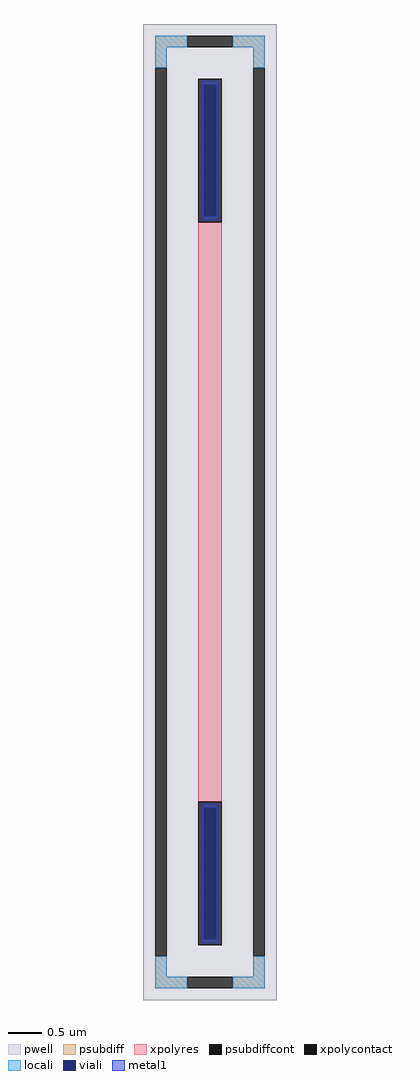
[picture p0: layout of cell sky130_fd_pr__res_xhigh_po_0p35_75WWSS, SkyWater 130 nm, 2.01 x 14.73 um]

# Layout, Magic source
magic
tech sky130A
magscale 1 2
<< pwell >>
rect -201 -1473 201 1473
<< psubdiff >>
rect -165 1403 -69 1437
rect 69 1403 165 1437
rect -165 1341 -131 1403
rect 131 1341 165 1403
rect -165 -1403 -131 -1341
rect 131 -1403 165 -1341
rect -165 -1437 -69 -1403
rect 69 -1437 165 -1403
<< psubdiffcont >>
rect -69 1403 69 1437
rect -165 -1341 -131 1341
rect 131 -1341 165 1341
rect -69 -1437 69 -1403
<< xpolycontact >>
rect -35 875 35 1307
rect -35 -1307 35 -875
<< xpolyres >>
rect -35 -875 35 875
<< locali >>
rect -165 1403 -69 1437
rect 69 1403 165 1437
rect -165 1341 -131 1403
rect 131 1341 165 1403
rect -165 -1403 -131 -1341
rect 131 -1403 165 -1341
rect -165 -1437 -69 -1403
rect 69 -1437 165 -1403
<< viali >>
rect -19 892 19 1289
rect -19 -1289 19 -892
<< metal1 >>
rect -25 1289 25 1301
rect -25 892 -19 1289
rect 19 892 25 1289
rect -25 880 25 892
rect -25 -892 25 -880
rect -25 -1289 -19 -892
rect 19 -1289 25 -892
rect -25 -1301 25 -1289
<< properties >>
string FIXED_BBOX -148 -1420 148 1420
string gencell sky130_fd_pr__res_xhigh_po_0p35
string library sky130
string parameters w 0.350 l 8.75 m 1 nx 1 wmin 0.350 lmin 0.50 rho 2000 val 51.075k dummy 0 dw 0.0 term 188.2 sterm 0.0 caplen 0 wmax 0.350 guard 1 glc 1 grc 1 gtc 1 gbc 1 compatible {sky130_fd_pr__res_xhigh_po_0p35  sky130_fd_pr__res_xhigh_po_0p69 sky130_fd_pr__res_xhigh_po_1p41  sky130_fd_pr__res_xhigh_po_2p85 sky130_fd_pr__res_xhigh_po_5p73} snake 0 full_metal 1 n_guard 0 hv_guard 0 vias 1 viagb 0 viagt 0 viagl 0 viagr 0
<< end >>
